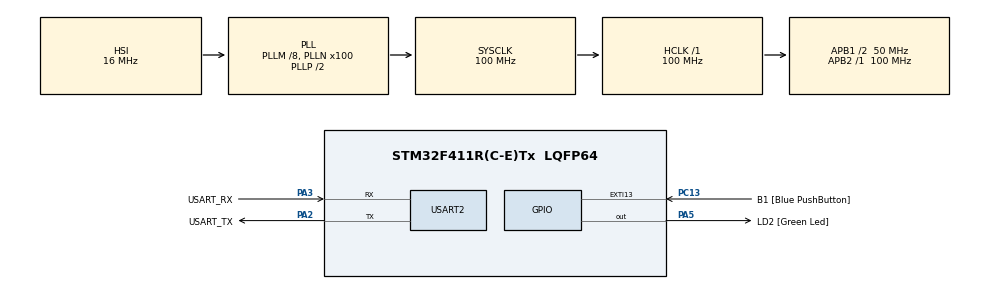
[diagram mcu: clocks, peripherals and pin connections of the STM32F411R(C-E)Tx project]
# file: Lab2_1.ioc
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Mcu.Family=STM32F4
Mcu.Name=STM32F411R(C-E)Tx
Mcu.Package=LQFP64
NVIC.PriorityGroup=NVIC_PRIORITYGROUP_0
PA13.GPIO_Label=TMS
PA13.Mode=Serial_Wire
PA13.Signal=SYS_JTMS-SWDIO
PA14.GPIO_Label=TCK
PA14.Mode=Serial_Wire
PA14.Signal=SYS_JTCK-SWCLK
PA2.GPIO_Label=USART_TX
PA2.Mode=Asynchronous
PA2.Signal=USART2_TX
PA3.GPIO_Label=USART_RX
PA3.Mode=Asynchronous
PA3.Signal=USART2_RX
PA5.GPIO_Label=LD2 [Green Led]
PA5.Signal=GPIO_Output
PB3.GPIO_Label=SWO
PB3.Signal=SYS_JTDO-SWO
PC13-ANTI_TAMP.GPIO_Label=B1 [Blue PushButton]
PC13-ANTI_TAMP.GPIO_ModeDefaultEXTI=GPIO_MODE_IT_FALLING
PC13-ANTI_TAMP.Signal=GPXTI13
PC14-OSC32_IN.Mode=LSE-External-Oscillator
PC14-OSC32_IN.Signal=RCC_OSC32_IN
PC15-OSC32_OUT.Mode=LSE-External-Oscillator
PC15-OSC32_OUT.Signal=RCC_OSC32_OUT
PH0\ -\ OSC_IN.Mode=HSE-External-Clock-Source
PH0\ -\ OSC_IN.Signal=RCC_OSC_IN
PH1\ -\ OSC_OUT.Mode=HSE-External-Clock-Source
PH1\ -\ OSC_OUT.Signal=RCC_OSC_OUT
ProjectManager.HeapSize=0x200
ProjectManager.StackSize=0x400
ProjectManager.TargetToolchain=STM32CubeIDE
RCC.48MHZClocksFreq_Value=50000000
RCC.AHBFreq_Value=100000000
RCC.APB1CLKDivider=RCC_HCLK_DIV2
RCC.APB1Freq_Value=50000000
RCC.APB1TimFreq_Value=100000000
RCC.APB2Freq_Value=100000000
RCC.APB2TimFreq_Value=100000000
RCC.CortexFreq_Value=100000000
RCC.FLatency-AdvancedSettings=FLASH_LATENCY_3
RCC.HCLKFreq_Value=100000000
RCC.HSE_VALUE=8000000
RCC.HSI_VALUE=16000000
RCC.PLLM=8
RCC.PLLN=100
RCC.SYSCLKFreq_VALUE=100000000
RCC.SYSCLKSource=RCC_SYSCLKSOURCE_PLLCLK
RCC.VCOOutputFreq_Value=200000000
USART2.VirtualMode=VM_ASYNC
board=NUCLEO-F411RE

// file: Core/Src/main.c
/* USER CODE BEGIN Header */
/**
  ******************************************************************************
  * @file           : main.c
  * @brief          : Main program body
  ******************************************************************************
  * @attention
  *
  * Copyright (c) 2023 STMicroelectronics.
  * All rights reserved.
  *
  * This software is licensed under terms that can be found in the LICENSE file
  * in the root directory of this software component.
  * If no LICENSE file comes with this software, it is provided AS-IS.
  *
  ******************************************************************************
  */
/* USER CODE END Header */
#include "main.h"

UART_HandleTypeDef huart2;

void SystemClock_Config(void);
static void MX_GPIO_Init(void);
static void MX_USART2_UART_Init(void);

int main(void)
{
  /* USER CODE BEGIN 1 */
	int l=1,now;
	uint8_t a[1],b[3];
  /* USER CODE END 1 */

  /* MCU Configuration--------------------------------------------------------*/

  /* Reset of all peripherals, Initializes the Flash interface and the Systick. */
  HAL_Init();

  /* Configure the system clock */
  SystemClock_Config();

  /* Initialize all configured peripherals */
  MX_GPIO_Init();
  MX_USART2_UART_Init();

  /* Infinite loop */
  /* USER CODE BEGIN WHILE */
  while (1)
  {
	  /*problem 1
	  HAL_GPIO_TogglePin(GPIOA, GPIO_PIN_5);
	  HAL_Delay(200);
	  */

	  /*problem 2 & 3
	  now = HAL_GPIO_ReadPin(GPIOC, GPIO_PIN_13);
	  HAL_Delay(50);
	  if(now == 0 && l == 1){
		  HAL_Delay(50);
		  if(HAL_GPIO_ReadPin(GPIOC, GPIO_PIN_13) == 0)
			  HAL_GPIO_TogglePin(GPIOA, GPIO_PIN_5);
	  }
	  l = now;
	  */

	  /*problem 4
	  HAL_UART_Receive(&huart2, a, sizeof a, HAL_MAX_DELAY);
	  HAL_Delay(100);
	  HAL_UART_Transmit(&huart2, a, sizeof a, HAL_MAX_DELAY);
	  HAL_UART_Transmit(&huart2, "\r\n", 2, HAL_MAX_DELAY);
	*/

	  /*problem 5 */
	  HAL_UART_Receive(&huart2, a, sizeof(a), HAL_MAX_DELAY);
	  HAL_Delay(100);
	  HAL_UART_Transmit(&huart2, a, sizeof(a), HAL_MAX_DELAY);
	  HAL_UART_Transmit(&huart2, "\r\n", 2, HAL_MAX_DELAY);

	  /*if(b[0] == 'o' && b[1] == 'n' && b[2] == '\r')
		  HAL_GPIO_WritePin(GPIOA, GPIO_PIN_5, GPIO_PIN_SET);
	  if(b[0] == 'o' && b[1] == 'f' && b[2] == 'f'){
		  HAL_UART_Receive(&huart2, a, sizeof(a), HAL_MAX_DELAY);
		  if(a[0] == '\r')
			  HAL_GPIO_WritePin(GPIOA, GPIO_PIN_5, GPIO_PIN_RESET);
	  }*/
	  if(now == 0 && a[0] == 'o')
		  now = 1;
	  else if(now == 1 && a[0] == 'n')
		  now = 2;
	  else if(now == 2 && a[0] == '\r'){
		  HAL_GPIO_WritePin(GPIOA, GPIO_PIN_5, GPIO_PIN_SET);
		  now = 0;
	  }
	  else if(now == 1 && a[0] == 'f')
		  now = 4;
	  else if(now == 4 && a[0] == 'f')
	  	  now = 5;
	  else if(now == 5 && a[0] == '\r'){
		  HAL_GPIO_WritePin(GPIOA, GPIO_PIN_5, GPIO_PIN_RESET);
	  	  now = 0;
	  }
	  else
		  now = 0;

    /* USER CODE END WHILE */

  }
}

void SystemClock_Config(void)
{
  RCC_OscInitTypeDef RCC_OscInitStruct = {0};
  RCC_ClkInitTypeDef RCC_ClkInitStruct = {0};

  /** Configure the main internal regulator output voltage
  */
  __HAL_RCC_PWR_CLK_ENABLE();
  __HAL_PWR_VOLTAGESCALING_CONFIG(PWR_REGULATOR_VOLTAGE_SCALE1);

  /** Initializes the RCC Oscillators according to the specified parameters
  * in the RCC_OscInitTypeDef structure.
  */
  RCC_OscInitStruct.OscillatorType = RCC_OSCILLATORTYPE_HSI;
  RCC_OscInitStruct.HSIState = RCC_HSI_ON;
  RCC_OscInitStruct.HSICalibrationValue = RCC_HSICALIBRATION_DEFAULT;
  RCC_OscInitStruct.PLL.PLLState = RCC_PLL_ON;
  RCC_OscInitStruct.PLL.PLLSource = RCC_PLLSOURCE_HSI;
  RCC_OscInitStruct.PLL.PLLM = 8;
  RCC_OscInitStruct.PLL.PLLN = 100;
  RCC_OscInitStruct.PLL.PLLP = RCC_PLLP_DIV2;
  RCC_OscInitStruct.PLL.PLLQ = 4;
  if (HAL_RCC_OscConfig(&RCC_OscInitStruct) != HAL_OK)
  {
    Error_Handler();
  }

  /** Initializes the CPU, AHB and APB buses clocks
  */
  RCC_ClkInitStruct.ClockType = RCC_CLOCKTYPE_HCLK|RCC_CLOCKTYPE_SYSCLK
                              |RCC_CLOCKTYPE_PCLK1|RCC_CLOCKTYPE_PCLK2;
  RCC_ClkInitStruct.SYSCLKSource = RCC_SYSCLKSOURCE_PLLCLK;
  RCC_ClkInitStruct.AHBCLKDivider = RCC_SYSCLK_DIV1;
  RCC_ClkInitStruct.APB1CLKDivider = RCC_HCLK_DIV2;
  RCC_ClkInitStruct.APB2CLKDivider = RCC_HCLK_DIV1;

  if (HAL_RCC_ClockConfig(&RCC_ClkInitStruct, FLASH_LATENCY_3) != HAL_OK)
  {
    Error_Handler();
  }
}

static void MX_USART2_UART_Init(void)
{

  huart2.Instance = USART2;
  huart2.Init.BaudRate = 115200;
  huart2.Init.WordLength = UART_WORDLENGTH_8B;
  huart2.Init.StopBits = UART_STOPBITS_1;
  huart2.Init.Parity = UART_PARITY_NONE;
  huart2.Init.Mode = UART_MODE_TX_RX;
  huart2.Init.HwFlowCtl = UART_HWCONTROL_NONE;
  huart2.Init.OverSampling = UART_OVERSAMPLING_16;
  if (HAL_UART_Init(&huart2) != HAL_OK)
  {
    Error_Handler();
  }

}

static void MX_GPIO_Init(void)
{
  GPIO_InitTypeDef GPIO_InitStruct = {0};

  /* GPIO Ports Clock Enable */
  __HAL_RCC_GPIOC_CLK_ENABLE();
  __HAL_RCC_GPIOH_CLK_ENABLE();
  __HAL_RCC_GPIOA_CLK_ENABLE();
  __HAL_RCC_GPIOB_CLK_ENABLE();

  /*Configure GPIO pin Output Level */
  HAL_GPIO_WritePin(LD2_GPIO_Port, LD2_Pin, GPIO_PIN_RESET);

  /*Configure GPIO pin : B1_Pin */
  GPIO_InitStruct.Pin = B1_Pin;
  GPIO_InitStruct.Mode = GPIO_MODE_IT_FALLING;
  GPIO_InitStruct.Pull = GPIO_NOPULL;
  HAL_GPIO_Init(B1_GPIO_Port, &GPIO_InitStruct);

  /*Configure GPIO pin : LD2_Pin */
  GPIO_InitStruct.Pin = LD2_Pin;
  GPIO_InitStruct.Mode = GPIO_MODE_OUTPUT_PP;
  GPIO_InitStruct.Pull = GPIO_NOPULL;
  GPIO_InitStruct.Speed = GPIO_SPEED_FREQ_LOW;
  HAL_GPIO_Init(LD2_GPIO_Port, &GPIO_InitStruct);

}

void Error_Handler(void)
{
  __disable_irq();
  while (1)
  {
  }
}
